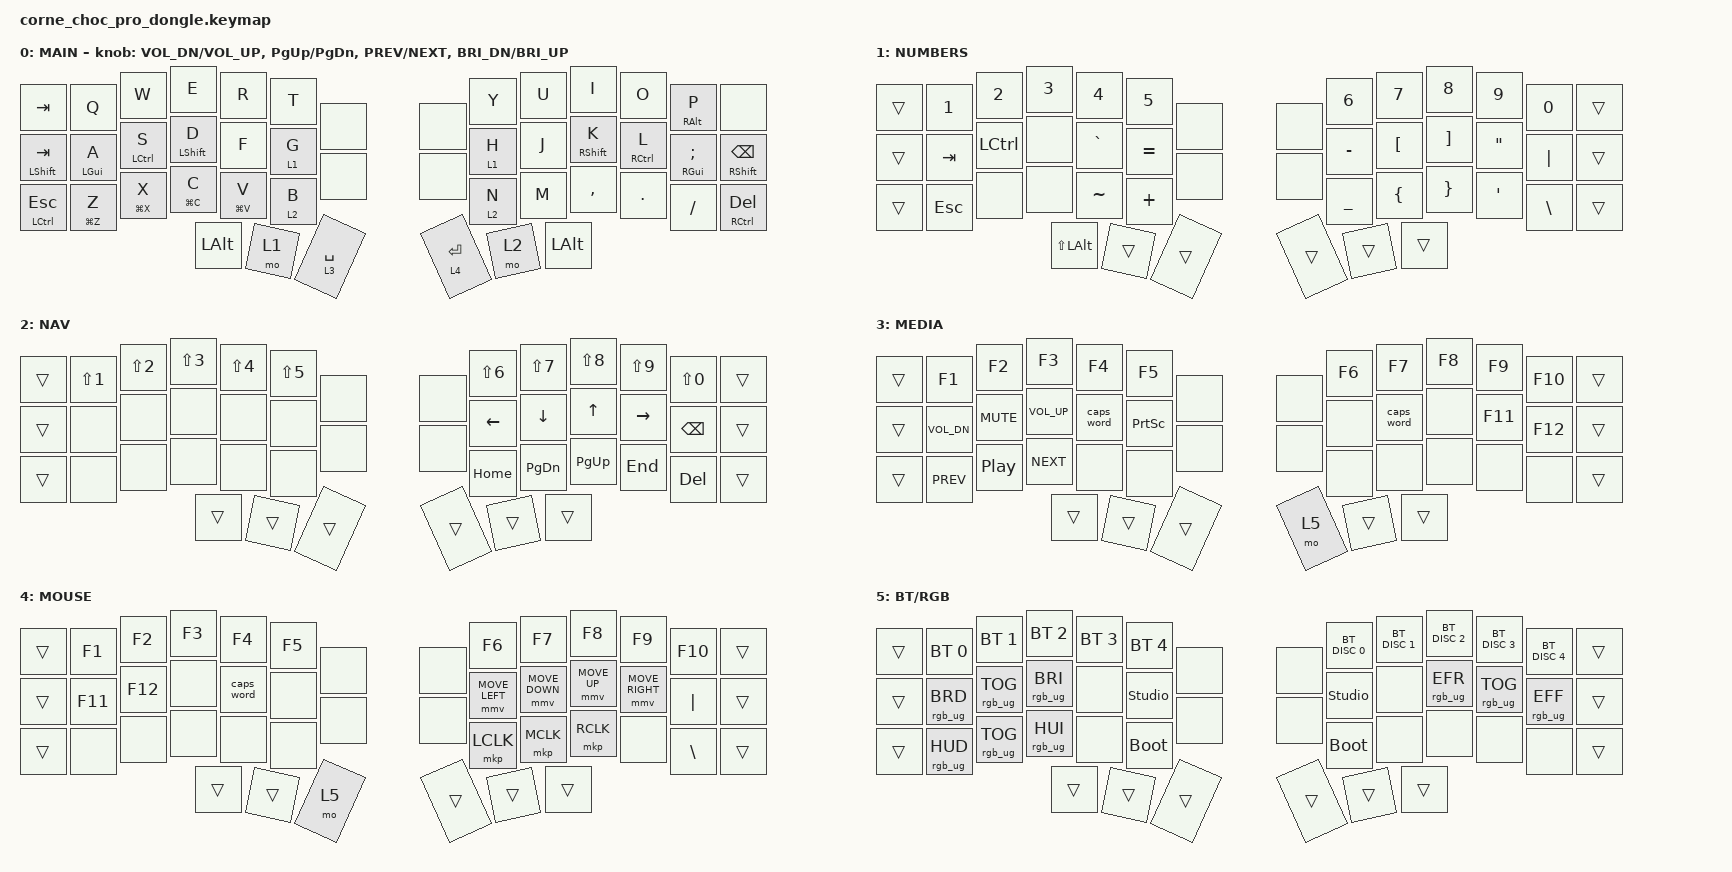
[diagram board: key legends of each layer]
/*
 * Copyright (c) 2020 The ZMK Contributors
 *
 * SPDX-License-Identifier: MIT
 */

#include <behaviors.dtsi>
#include <dt-bindings/zmk/keys.h>
#include <dt-bindings/zmk/bt.h>
#include <dt-bindings/zmk/pointing.h>
#include <dt-bindings/zmk/rgb.h>
#include "key-labels/corne_choc_pro.h"
#include "behaviors.dtsi"

/ {
    chosen {
        zmk,physical-layout = &default_layout;
    };

    combos {
        compatible = "zmk,combos";

        combo_df {
            timeout-ms = <50>;
            require-prior-idle-ms = <50>;
            key-positions = <17 18>;
            bindings = <&kp ESC>;
        };

        combo_jk {
            timeout-ms = <50>;
            require-prior-idle-ms = <50>;
            key-positions = <23 24>;
            bindings = <&kp ESC>;
        };

        combo_ksemicolon {
            timeout-ms = <50>;
            require-prior-idle-ms = <50>;
            key-positions = <24 26>;
            bindings = <&kp COLON>;
        };

        combo_kslash {
            timeout-ms = <50>;
            require-prior-idle-ms = <50>;
            key-positions = <24 38>;
            bindings = <&kp QUESTION>;
        };
    };

    keymap {
        compatible = "zmk,keymap";

        default_layer {
            display-name = "MAIN";
            bindings = <
            &kp TAB         &kp Q               &kp W               &kp E               &kp R               &kp T            &none   &none   &kp Y           &kp U             &kp I                 &kp O            &hmr RALT P      &none
            &mtq LSHIFT TAB &hml LGUI A         &hml LCTRL S        &hml LSHFT D        &kp F               &ltq 1 G         &none   &none   &ltq 1 H        &kp J             &hmr RSHIFT K         &hmr RCTRL L     &hmr RGUI SEMI   &mtq RSHIFT BSPC
            &mtq LCTRL ESC  &mts LG(Z) Z        &mts LG(X) X        &mts LG(C) C        &mts LG(V) V        &ltq 2 B                         &ltq 2 N        &kp M             &kp COMMA             &kp DOT          &kp FSLH         &mtq RCTRL DELETE
                                                                    &kp LALT            &mo 1               &lts 3 SPACE                     &lts 4 RET      &mo 2             &kp LALT
            >;
            sensor-bindings = <&inc_dec_kp C_VOL_DN C_VOL_UP &inc_dec_kp PG_UP PG_DN &inc_dec_kp C_PREV C_NEXT &inc_dec_kp C_BRI_DN C_BRI_UP>;
        };

        numbers_layer {
            display-name = "NUMBERS";
            bindings = <
            &trans  &kp N1              &kp N2              &kp N3              &kp N4              &kp N5           &none   &none   &kp N6          &kp N7            &kp N8                &kp N9           &kp N0           &trans
            &trans  &kp TAB             &kp LCTRL           &none               &kp GRAVE           &kp EQUAL        &none   &none   &kp MINUS       &kp LEFT_BRACKET  &kp RIGHT_BRACKET     &kp DQT          &kp PIPE         &trans
            &trans  &kp ESC             &none               &none               &kp TILDE           &kp PLUS                         &kp UNDER       &kp LEFT_BRACE    &kp RIGHT_BRACE       &kp SQT          &kp BACKSLASH    &trans
                                                            &kp LS(LALT)        &trans              &trans           &trans          &trans            &trans
            >;
        };

        nav_layer {
            display-name = "NAV";
            bindings = <
            &trans  &kp LS(N1)          &kp LS(N2)          &kp LS(N3)          &kp LS(N4)          &kp LS(N5)       &none   &none   &kp LS(N6)      &kp LS(N7)        &kp LS(N8)            &kp LS(N9)       &kp LS(N0)       &trans
            &trans  &none               &none               &none               &none               &none            &none   &none   &kp LEFT        &kp DOWN          &kp UP                &kp RIGHT        &kp BSPC         &trans
            &trans  &none               &none               &none               &none               &none                            &kp HOME        &kp PG_DN         &kp PG_UP             &kp END          &kp DEL          &trans
                                                            &trans              &trans              &trans                           &trans          &trans            &trans
            >;
        };

        media_layer {
            display-name = "MEDIA";
            bindings = <
            &trans  &kp F1              &kp F2              &kp F3              &kp F4              &kp F5           &none   &none   &kp F6          &kp F7            &kp F8                &kp F9           &kp F10          &trans
            &trans  &kp C_VOL_DN        &kp C_MUTE          &kp C_VOL_UP        &caps_word          &kp PRINTSCREEN  &none   &none   &none           &caps_word        &none                 &kp F11          &kp F12          &trans
            &trans  &kp C_PREV          &kp C_PP            &kp C_NEXT          &none               &none                            &none           &none             &none                 &none            &none            &trans
                                                            &trans              &trans              &trans                           &mo 5           &trans            &trans
            >;
        };

        mouse_layer {
            display-name = "MOUSE";
            bindings = <
            &trans  &kp F1              &kp F2              &kp F3              &kp F4              &kp F5           &none   &none   &kp F6          &kp F7            &kp F8                &kp F9           &kp F10          &trans
            &trans  &kp F11             &kp F12             &none               &caps_word          &none            &none   &none   &mmv MOVE_LEFT  &mmv MOVE_DOWN    &mmv MOVE_UP          &mmv MOVE_RIGHT  &kp PIPE         &trans
            &trans  &none               &none               &none               &none               &none                            &mkp LCLK       &mkp MCLK         &mkp RCLK             &none            &kp BACKSLASH    &trans
                                                            &trans              &trans              &mo 5                            &trans          &trans            &trans
            >;
        };

        btrgb_layer {
            display-name = "BT/RGB";
            bindings = <
            &trans  &bt BT_SEL 0        &bt BT_SEL 1        &bt BT_SEL 2        &bt BT_SEL 3        &bt BT_SEL 4     &none   &none   &bt BT_DISC 0   &bt BT_DISC 1     &bt BT_DISC 2         &bt BT_DISC 3    &bt BT_DISC 4    &trans
            &trans  &rgb_ug RGB_BRD     &rgb_ug RGB_TOG     &rgb_ug RGB_BRI     &none               &studio_unlock   &none   &none   &studio_unlock  &none             &rgb_ug RGB_EFR       &rgb_ug RGB_TOG  &rgb_ug RGB_EFF  &trans
            &trans  &rgb_ug RGB_HUD     &rgb_ug RGB_TOG     &rgb_ug RGB_HUI     &none               &bootloader                      &bootloader     &none             &none                 &none            &none            &trans
                                                            &trans              &trans              &trans                           &trans          &trans            &trans
            >;
        };
    };
};
